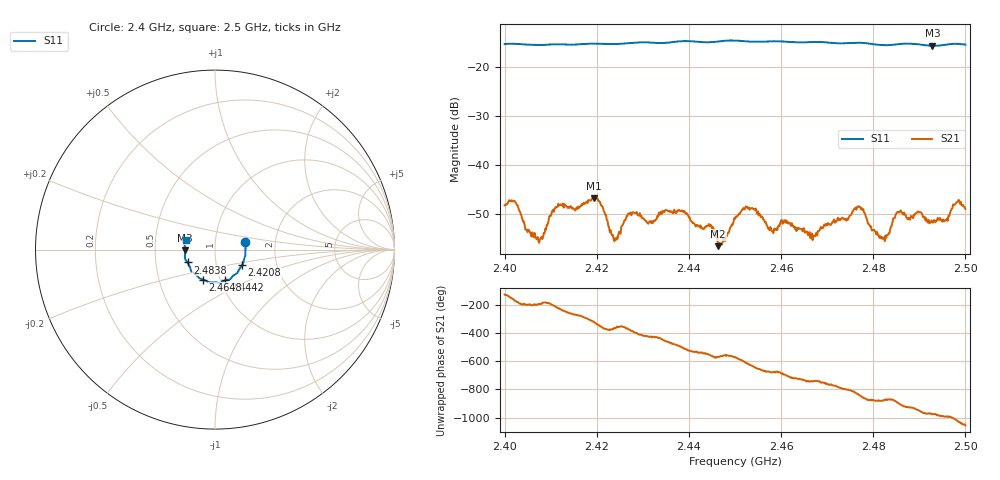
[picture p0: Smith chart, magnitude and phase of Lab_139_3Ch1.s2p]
# Hz S RI R 50
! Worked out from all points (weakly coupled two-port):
!   601 points, 2.4 GHz to 2.5 GHz, reference 50 ohm
!   highest |S21| = -46.72 dB at 2.4193 GHz (marker M1); lowest = -56.5 dB at 2.4463 GHz (marker M2)
!   lowest |S11| = -15.6 dB at 2.4928 GHz (marker M3), VSWR 1.40, Z = 35.8 - j0.359 ohm
!   |S11| at or under -10 dB: start of sweep to end of sweep
!   S12 and S22 are empty: the file has one direction only
!   S11 on the Smith chart (normalised r, x): 2.4 GHz: 1.40, +0.12; 2.4208 GHz: 1.33, -0.24; 2.4442 GHz: 1.05, -0.37; 2.4648 GHz: 0.83, -0.29; 2.4838 GHz: 0.73, -0.11; 2.5 GHz: 0.72, +0.08
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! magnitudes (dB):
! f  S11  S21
! 2.4 GHz  -15.3  -48.2
! 2.4023 GHz  -15.2  -47.6
! 2.4073 GHz  -15.4  -55.4
! 2.4113 GHz  -15.3  -48.6
! 2.4167 GHz  -15.2  -48.3
! 2.4193 GHz  -15.2  -46.7
! 2.4208 GHz  -15.2  -47.9
! 2.424 GHz  -15.2  -54.9
! 2.4273 GHz  -15.0  -49.6
! 2.4333 GHz  -15.0  -50.5
! 2.4442 GHz  -14.9  -52.2
! 2.4463 GHz  -14.7  -56.5
! 2.45 GHz  -14.5  -51.0
! 2.4528 GHz  -14.7  -48.8
! 2.4648 GHz  -14.9  -52.9
! 2.4667 GHz  -14.8  -53.9
! 2.4767 GHz  -15.0  -48.4
! 2.4833 GHz  -15.5  -53.9
! 2.4838 GHz  -15.4  -52.5
! 2.4857 GHz  -15.2  -49.6
! 2.4928 GHz  -15.6  -51.7
! 2.5 GHz  -15.4  -48.9
